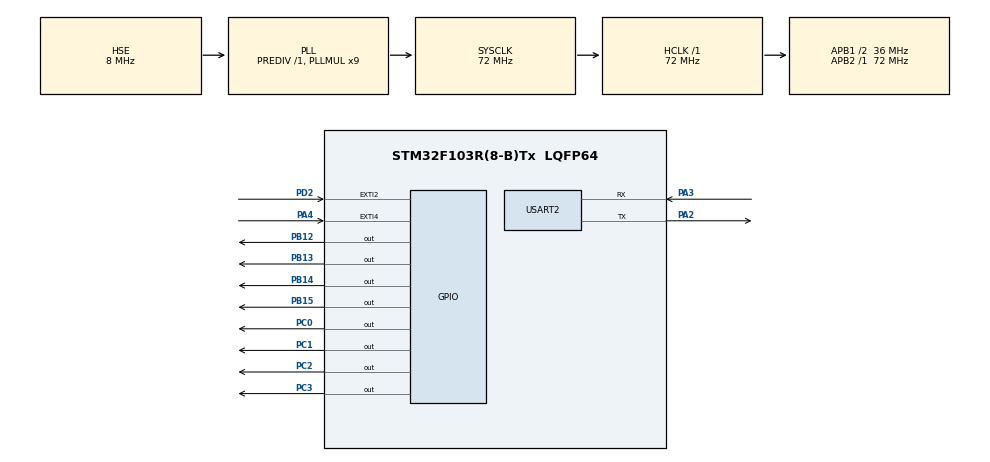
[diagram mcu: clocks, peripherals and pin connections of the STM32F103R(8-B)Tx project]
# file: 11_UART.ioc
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Mcu.Family=STM32F1
Mcu.Name=STM32F103R(8-B)Tx
Mcu.Package=LQFP64
NVIC.PriorityGroup=NVIC_PRIORITYGROUP_4
PA2.Mode=Asynchronous
PA2.Signal=USART2_TX
PA3.Mode=Asynchronous
PA3.Signal=USART2_RX
PA4.Signal=GPXTI4
PB12.Signal=GPIO_Output
PB13.Signal=GPIO_Output
PB14.Signal=GPIO_Output
PB15.Signal=GPIO_Output
PC0.Signal=GPIO_Output
PC1.Signal=GPIO_Output
PC14-OSC32_IN.Mode=LSE-External-Oscillator
PC14-OSC32_IN.Signal=RCC_OSC32_IN
PC15-OSC32_OUT.Mode=LSE-External-Oscillator
PC15-OSC32_OUT.Signal=RCC_OSC32_OUT
PC2.Signal=GPIO_Output
PC3.Signal=GPIO_Output
PD0-OSC_IN.Mode=HSE-External-Clock-Source
PD0-OSC_IN.Signal=RCC_OSC_IN
PD1-OSC_OUT.Mode=HSE-External-Clock-Source
PD1-OSC_OUT.Signal=RCC_OSC_OUT
PD2.Signal=GPXTI2
ProjectManager.HeapSize=0x200
ProjectManager.StackSize=0x400
ProjectManager.TargetToolchain=STM32CubeIDE
RCC.AHBFreq_Value=72000000
RCC.APB1CLKDivider=RCC_HCLK_DIV2
RCC.APB1Freq_Value=36000000
RCC.APB1TimFreq_Value=72000000
RCC.APB2Freq_Value=72000000
RCC.APB2TimFreq_Value=72000000
RCC.HCLKFreq_Value=72000000
RCC.PLLMUL=RCC_PLL_MUL9
RCC.PLLSourceVirtual=RCC_PLLSOURCE_HSE
RCC.SYSCLKFreq_VALUE=72000000
RCC.SYSCLKSource=RCC_SYSCLKSOURCE_PLLCLK
RCC.USBFreq_Value=72000000
USART2.VirtualMode=VM_ASYNC
board=custom

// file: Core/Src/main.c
/* USER CODE BEGIN Header */
/**
  ******************************************************************************
  * @file           : main.c
  * @brief          : Main program body
  ******************************************************************************
  * @attention
  *
  * Copyright (c) 2023 STMicroelectronics.
  * All rights reserved.
  *
  * This software is licensed under terms that can be found in the LICENSE file
  * in the root directory of this software component.
  * If no LICENSE file comes with this software, it is provided AS-IS.
  *
  ******************************************************************************
  */
/* USER CODE END Header */
#include "main.h"

UART_HandleTypeDef huart2;

/* USER CODE BEGIN PV */
#if 0
uint8_t TxBuffer[] = "Embedded-Software\n";
uint8_t TxBuffer_else[] = "1을 눌려주세요\n";
uint8_t RxBuffer[1];
#endif

#if 1
uint8_t TxBuffer[6];
uint8_t num=1, num100, num10, num1;
uint8_t alph='A';
#endif
/* USER CODE END PV */

void SystemClock_Config(void);
static void MX_GPIO_Init(void);
static void MX_USART2_UART_Init(void);

int main(void)
{

  /* MCU Configuration--------------------------------------------------------*/

  /* Reset of all peripherals, Initializes the Flash interface and the Systick. */
  HAL_Init();

  /* Configure the system clock */
  SystemClock_Config();

  /* Initialize all configured peripherals */
  MX_GPIO_Init();
  MX_USART2_UART_Init();

  /* Infinite loop */
  /* USER CODE BEGIN WHILE */
  while (1)
  {
#if 0
	  if(HAL_UART_Receive(&huart2, RxBuffer, 1, 1)==HAL_OK){
		  if(RxBuffer[0]=='1'){
			  HAL_UART_Transmit(&huart2, TxBuffer, sizeof(TxBuffer), 100);
		  } else {
			  HAL_UART_Transmit(&huart2, TxBuffer_else, sizeof(TxBuffer_else), 100);
		  }
	  }
#endif

#if 1
	  num100 = num/100;
	  num10 = (num%100)/10;
	  num1 = num%10;
	  TxBuffer[0] = num100 + '0';
	  TxBuffer[1] = num10 + '0';
	  TxBuffer[2] = num1 + '0';
	  TxBuffer[3] = '-';
	  TxBuffer[4] = alph;
	  TxBuffer[5] = '\n';

	  HAL_UART_Transmit(&huart2, TxBuffer, sizeof(TxBuffer), 100);
	  HAL_Delay(1000);
	  if(++num > 100) num = 1;
	  if(++alph > 'Z') alph = 'A';
#endif
    /* USER CODE END WHILE */

  }
}

void SystemClock_Config(void)
{
  RCC_OscInitTypeDef RCC_OscInitStruct = {0};
  RCC_ClkInitTypeDef RCC_ClkInitStruct = {0};

  /** Initializes the RCC Oscillators according to the specified parameters
  * in the RCC_OscInitTypeDef structure.
  */
  RCC_OscInitStruct.OscillatorType = RCC_OSCILLATORTYPE_HSE;
  RCC_OscInitStruct.HSEState = RCC_HSE_BYPASS;
  RCC_OscInitStruct.HSEPredivValue = RCC_HSE_PREDIV_DIV1;
  RCC_OscInitStruct.HSIState = RCC_HSI_ON;
  RCC_OscInitStruct.PLL.PLLState = RCC_PLL_ON;
  RCC_OscInitStruct.PLL.PLLSource = RCC_PLLSOURCE_HSE;
  RCC_OscInitStruct.PLL.PLLMUL = RCC_PLL_MUL9;
  if (HAL_RCC_OscConfig(&RCC_OscInitStruct) != HAL_OK)
  {
    Error_Handler();
  }

  /** Initializes the CPU, AHB and APB buses clocks
  */
  RCC_ClkInitStruct.ClockType = RCC_CLOCKTYPE_HCLK|RCC_CLOCKTYPE_SYSCLK
                              |RCC_CLOCKTYPE_PCLK1|RCC_CLOCKTYPE_PCLK2;
  RCC_ClkInitStruct.SYSCLKSource = RCC_SYSCLKSOURCE_PLLCLK;
  RCC_ClkInitStruct.AHBCLKDivider = RCC_SYSCLK_DIV1;
  RCC_ClkInitStruct.APB1CLKDivider = RCC_HCLK_DIV2;
  RCC_ClkInitStruct.APB2CLKDivider = RCC_HCLK_DIV1;

  if (HAL_RCC_ClockConfig(&RCC_ClkInitStruct, FLASH_LATENCY_2) != HAL_OK)
  {
    Error_Handler();
  }
}

static void MX_USART2_UART_Init(void)
{

  huart2.Instance = USART2;
  huart2.Init.BaudRate = 115200;
  huart2.Init.WordLength = UART_WORDLENGTH_8B;
  huart2.Init.StopBits = UART_STOPBITS_1;
  huart2.Init.Parity = UART_PARITY_NONE;
  huart2.Init.Mode = UART_MODE_TX_RX;
  huart2.Init.HwFlowCtl = UART_HWCONTROL_NONE;
  huart2.Init.OverSampling = UART_OVERSAMPLING_16;
  if (HAL_UART_Init(&huart2) != HAL_OK)
  {
    Error_Handler();
  }

}

static void MX_GPIO_Init(void)
{
  GPIO_InitTypeDef GPIO_InitStruct = {0};

  /* GPIO Ports Clock Enable */
  __HAL_RCC_GPIOC_CLK_ENABLE();
  __HAL_RCC_GPIOD_CLK_ENABLE();
  __HAL_RCC_GPIOA_CLK_ENABLE();
  __HAL_RCC_GPIOB_CLK_ENABLE();

  /*Configure GPIO pin Output Level */
  HAL_GPIO_WritePin(GPIOC, GPIO_PIN_0|GPIO_PIN_1|GPIO_PIN_2|GPIO_PIN_3, GPIO_PIN_RESET);

  /*Configure GPIO pin Output Level */
  HAL_GPIO_WritePin(GPIOB, GPIO_PIN_12|GPIO_PIN_13|GPIO_PIN_14|GPIO_PIN_15, GPIO_PIN_RESET);

  /*Configure GPIO pins : PC0 PC1 PC2 PC3 */
  GPIO_InitStruct.Pin = GPIO_PIN_0|GPIO_PIN_1|GPIO_PIN_2|GPIO_PIN_3;
  GPIO_InitStruct.Mode = GPIO_MODE_OUTPUT_PP;
  GPIO_InitStruct.Pull = GPIO_NOPULL;
  GPIO_InitStruct.Speed = GPIO_SPEED_FREQ_LOW;
  HAL_GPIO_Init(GPIOC, &GPIO_InitStruct);

  /*Configure GPIO pin : PA4 */
  GPIO_InitStruct.Pin = GPIO_PIN_4;
  GPIO_InitStruct.Mode = GPIO_MODE_IT_RISING;
  GPIO_InitStruct.Pull = GPIO_NOPULL;
  HAL_GPIO_Init(GPIOA, &GPIO_InitStruct);

  /*Configure GPIO pins : PB12 PB13 PB14 PB15 */
  GPIO_InitStruct.Pin = GPIO_PIN_12|GPIO_PIN_13|GPIO_PIN_14|GPIO_PIN_15;
  GPIO_InitStruct.Mode = GPIO_MODE_OUTPUT_PP;
  GPIO_InitStruct.Pull = GPIO_NOPULL;
  GPIO_InitStruct.Speed = GPIO_SPEED_FREQ_LOW;
  HAL_GPIO_Init(GPIOB, &GPIO_InitStruct);

  /*Configure GPIO pin : PD2 */
  GPIO_InitStruct.Pin = GPIO_PIN_2;
  GPIO_InitStruct.Mode = GPIO_MODE_IT_RISING;
  GPIO_InitStruct.Pull = GPIO_NOPULL;
  HAL_GPIO_Init(GPIOD, &GPIO_InitStruct);

}

void Error_Handler(void)
{
  __disable_irq();
  while (1)
  {
  }
}
